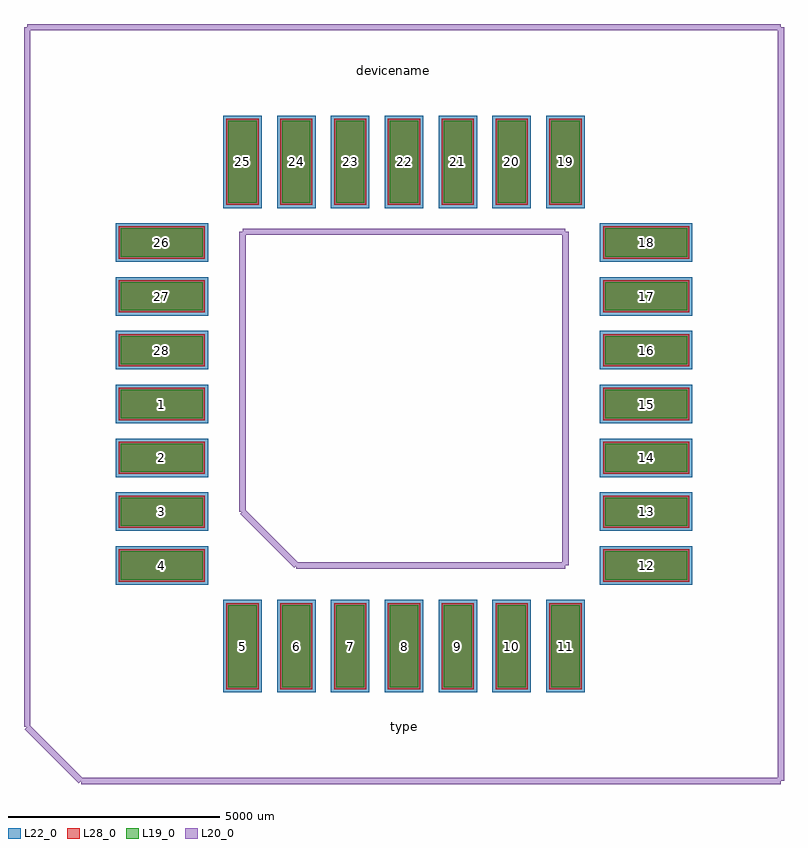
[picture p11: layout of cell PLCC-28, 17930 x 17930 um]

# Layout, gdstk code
import gdstk
lib = gdstk.Library(unit=1e-6, precision=1e-09)
def R(c, l, rs):  # rectangles x0, y0, x1, y1
    for r in rs: c.add(gdstk.rectangle(r[:2], r[2:], *l))
def A(c, l, x, y, w, h, nx, ny, dx, dy):  # array of equal rectangles
    R(c, l, [(x+i*dx, y+j*dy, x+i*dx+w, y+j*dy+h) for i in range(nx) for j in range(ny)])
L19_0 = (19, 0)
L20_0 = (20, 0)
L22_0 = (22, 0)
L28_0 = (28, 0)

plcc_28 = lib.new_cell('PLCC-28')
A(plcc_28, L19_0, -4141, -6681, 662, 1932, 7, 2, 1270, 11430)
A(plcc_28, L19_0, -6681, -4141, 1932, 662, 1, 7, 0, 1270)
A(plcc_28, L19_0, 4749, -4141, 1932, 662, 1, 7, 0, 1270)
A(plcc_28, L22_0, -4266, -6806, 912, 2182, 7, 2, 1270, 11430)
A(plcc_28, L22_0, -6806, -4266, 2182, 912, 1, 7, 0, 1270)
A(plcc_28, L22_0, 4624, -4266, 2182, 912, 1, 7, 0, 1270)
A(plcc_28, L28_0, -4191, -6731, 762, 2032, 7, 2, 1270, 11430)
A(plcc_28, L28_0, -6731, -4191, 2032, 762, 1, 7, 0, 1270)
A(plcc_28, L28_0, 4699, -4191, 2032, 762, 1, 7, 0, 1270)
plcc_28.add(gdstk.FlexPath([(-3810,-2540),(-2540,-3810)], 149.998, ends="flush", simple_path=True, layer=20, datatype=0))  # L20_0
plcc_28.add(gdstk.FlexPath([(-3810,4064),(-3810,-2540)], 149.998, ends="flush", simple_path=True, layer=20, datatype=0))  # L20_0
plcc_28.add(gdstk.FlexPath([(3810,-3810),(-2540,-3810)], 149.998, ends="flush", simple_path=True, layer=20, datatype=0))  # L20_0
plcc_28.add(gdstk.FlexPath([(3810,4064),(3810,-3810)], 149.998, ends="flush", simple_path=True, layer=20, datatype=0))  # L20_0
plcc_28.add(gdstk.FlexPath([(-3810,4064),(3810,4064)], 149.998, ends="flush", simple_path=True, layer=20, datatype=0))  # L20_0
plcc_28.add(gdstk.FlexPath([(-8890,-7620),(-8890,8890)], 149.998, ends="flush", simple_path=True, layer=20, datatype=0))  # L20_0
plcc_28.add(gdstk.FlexPath([(8890,8890),(-8890,8890)], 149.998, ends="flush", simple_path=True, layer=20, datatype=0))  # L20_0
plcc_28.add(gdstk.FlexPath([(8890,-8890),(8890,8890)], 149.998, ends="flush", simple_path=True, layer=20, datatype=0))  # L20_0
plcc_28.add(gdstk.FlexPath([(-7620,-8890),(8890,-8890)], 149.998, ends="flush", simple_path=True, layer=20, datatype=0))  # L20_0
plcc_28.add(gdstk.FlexPath([(-8890,-7620),(-7620,-8890)], 149.998, ends="flush", simple_path=True, layer=20, datatype=0))  # L20_0
plcc_28.add(gdstk.Label('28', (-5715,1270), layer=28, texttype=0))
plcc_28.add(gdstk.Label('27', (-5715,2540), layer=28, texttype=0))
plcc_28.add(gdstk.Label('26', (-5715,3810), layer=28, texttype=0))
plcc_28.add(gdstk.Label('25', (-3810,5715), layer=28, texttype=0))
plcc_28.add(gdstk.Label('24', (-2540,5715), layer=28, texttype=0))
plcc_28.add(gdstk.Label('23', (-1270,5715), layer=28, texttype=0))
plcc_28.add(gdstk.Label('22', (0,5715), layer=28, texttype=0))
plcc_28.add(gdstk.Label('21', (1270,5715), layer=28, texttype=0))
plcc_28.add(gdstk.Label('20', (2540,5715), layer=28, texttype=0))
plcc_28.add(gdstk.Label('19', (3810,5715), layer=28, texttype=0))
plcc_28.add(gdstk.Label('18', (5715,3810), layer=28, texttype=0))
plcc_28.add(gdstk.Label('17', (5715,2540), layer=28, texttype=0))
plcc_28.add(gdstk.Label('16', (5715,1270), layer=28, texttype=0))
plcc_28.add(gdstk.Label('15', (5715,0), layer=28, texttype=0))
plcc_28.add(gdstk.Label('14', (5715,-1270), layer=28, texttype=0))
plcc_28.add(gdstk.Label('13', (5715,-2540), layer=28, texttype=0))
plcc_28.add(gdstk.Label('12', (5715,-3810), layer=28, texttype=0))
plcc_28.add(gdstk.Label('11', (3810,-5715), layer=28, texttype=0))
plcc_28.add(gdstk.Label('10', (2540,-5715), layer=28, texttype=0))
plcc_28.add(gdstk.Label('9', (1270,-5715), layer=28, texttype=0))
plcc_28.add(gdstk.Label('8', (0,-5715), layer=28, texttype=0))
plcc_28.add(gdstk.Label('7', (-1270,-5715), layer=28, texttype=0))
plcc_28.add(gdstk.Label('6', (-2540,-5715), layer=28, texttype=0))
plcc_28.add(gdstk.Label('5', (-3810,-5715), layer=28, texttype=0))
plcc_28.add(gdstk.Label('4', (-5715,-3810), layer=28, texttype=0))
plcc_28.add(gdstk.Label('3', (-5715,-2540), layer=28, texttype=0))
plcc_28.add(gdstk.Label('2', (-5715,-1270), layer=28, texttype=0))
plcc_28.add(gdstk.Label('1', (-5715,0), layer=28, texttype=0))
plcc_28.add(gdstk.Label('type', (0,-7620), layer=9, texttype=0))
plcc_28.add(gdstk.Label('devicename', (-254,7874), layer=9, texttype=0))

lib.write_gds('PLCC-28.gds')
